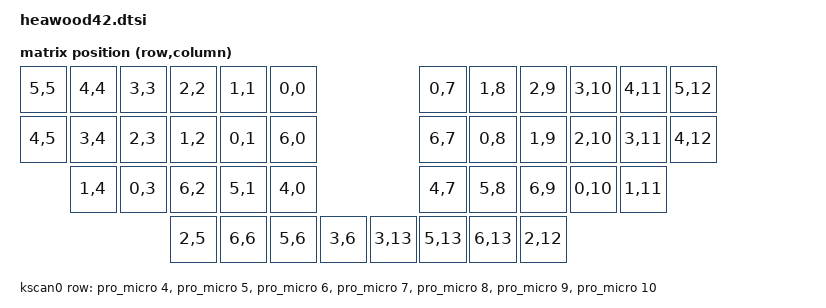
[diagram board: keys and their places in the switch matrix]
#include <dt-bindings/zmk/matrix_transform.h>
#include <layouts/triliu/heawood/6column.dtsi>

&triliu_heawood_6col_layout {
    transform = <&default_transform>;
};



/ {
    chosen {
        zephyr,display = &oled;
        zmk,kscan = &kscan0;
        zmk,physical-layout = &triliu_heawood_6col_layout;
    };

    default_transform: keymap_transform_0 {
        compatible = "zmk,matrix-transform";
        columns = <14>;
        rows = <7>;
// | SW6  | SW5  | SW4  | SW3  | SW2  | SW1  |                 | SW1  | SW2  | SW3  | SW4  | SW5  | SW6  |
// | SW12 | SW11 | SW10 | SW9  | SW8  | SW7  |                 | SW7  | SW8  | SW9  | SW10 | SW11 | SW12 |
// | SW18 | SW17 | SW16 | SW15 | SW14 | SW13 |                 | SW13 | SW14 | SW15 | SW16 | SW17 | SW18 |
// | SW24 | SW23 | SW22 | SW21 | SW20 | SW19 | SW25 |   | SW25 | SW19 | SW20 | SW21 | SW22 | SW23 | SW24 |
//                      | SW29 | SW28 | SW27 | SW26 |   | SW26 | SW27 | SW28 | SW29 |
        map = <
RC(5,5) RC(4,4) RC(3,3) RC(2,2) RC(1,1) RC(0,0)                  RC(0,7)  RC(1,8)  RC(2,9) RC(3,10) RC(4,11) RC(5,12)
RC(4,5) RC(3,4) RC(2,3) RC(1,2) RC(0,1) RC(6,0)                  RC(6,7)  RC(0,8)  RC(1,9) RC(2,10) RC(3,11) RC(4,12)
        RC(1,4) RC(0,3) RC(6,2) RC(5,1) RC(4,0)                  RC(4,7)  RC(5,8)  RC(6,9) RC(0,10) RC(1,11)
                        RC(2,5) RC(6,6) RC(5,6) RC(3,6) RC(3,13) RC(5,13) RC(6,13) RC(2,12)
        >;
    };


    kscan0: kscan {
        compatible = "zmk,kscan-gpio-matrix";

        diode-direction = "col2row";
        row-gpios
            = <&pro_micro 4 (GPIO_ACTIVE_HIGH | GPIO_PULL_DOWN)> // Row A from the schematic file
            , <&pro_micro 5 (GPIO_ACTIVE_HIGH | GPIO_PULL_DOWN)> // Row B from the schematic file
            , <&pro_micro 6 (GPIO_ACTIVE_HIGH | GPIO_PULL_DOWN)> // Row C from the schematic file
            , <&pro_micro 7 (GPIO_ACTIVE_HIGH | GPIO_PULL_DOWN)> // Row D from the schematic file
            , <&pro_micro 8 (GPIO_ACTIVE_HIGH | GPIO_PULL_DOWN)> // Row E from the schematic file
            , <&pro_micro 9 (GPIO_ACTIVE_HIGH | GPIO_PULL_DOWN)> // Row E from the schematic file
            , <&pro_micro 10 (GPIO_ACTIVE_HIGH | GPIO_PULL_DOWN)> // Row E from the schematic file
            ;

    };
};
&pro_micro_i2c {
    status = "okay";

    oled: ssd1306@3c {
        compatible = "solomon,ssd1306fb";
        reg = <0x3c>;
        width = <128>;
        height = <32>;
        segment-offset = <0>;
        page-offset = <0>;
        display-offset = <0>;
        multiplex-ratio = <31>;
        segment-remap;
        com-invdir;
        com-sequential;
        inversion-on;
        prechargep = <0x22>;
    };
};
